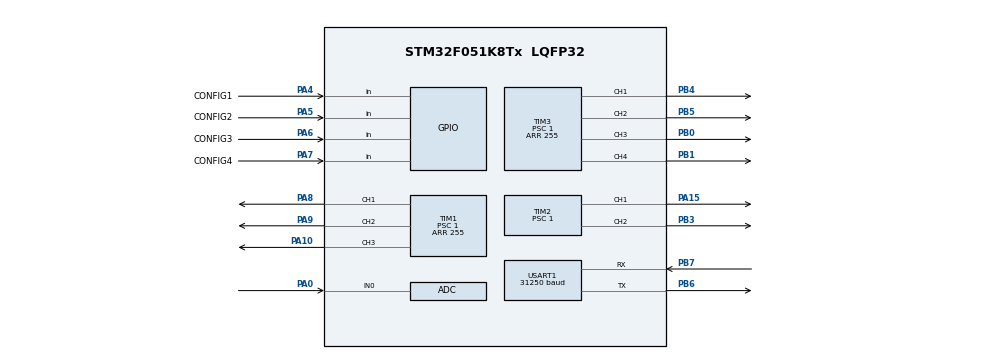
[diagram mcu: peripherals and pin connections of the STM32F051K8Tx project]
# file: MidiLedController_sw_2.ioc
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ADC.ContinuousConvMode=ENABLE
ADC.DMAContinuousRequests=ENABLE
ADC.Overrun=ADC_OVR_DATA_OVERWRITTEN
Dma.ADC.0.Direction=DMA_PERIPH_TO_MEMORY
Dma.ADC.0.Instance=DMA1_Channel1
Dma.ADC.0.MemDataAlignment=DMA_MDATAALIGN_WORD
Dma.ADC.0.MemInc=DMA_MINC_ENABLE
Dma.ADC.0.Mode=DMA_CIRCULAR
Dma.ADC.0.PeriphDataAlignment=DMA_PDATAALIGN_WORD
Dma.ADC.0.PeriphInc=DMA_PINC_DISABLE
Dma.ADC.0.Priority=DMA_PRIORITY_LOW
Dma.Request0=ADC
Mcu.Family=STM32F0
Mcu.Name=STM32F051K8Tx
Mcu.Package=LQFP32
NVIC.DMA1_Channel1_IRQn=true\:1\:0\:true\:false\:true\:false\:true
NVIC.TIM16_IRQn=true\:0\:0\:false\:false\:true\:true\:true
NVIC.USART1_IRQn=true\:0\:0\:false\:false\:true\:true\:true
PA0.Mode=IN0
PA0.Signal=ADC_IN0
PA10.Signal=S_TIM1_CH3
PA13.Mode=Serial_Wire
PA13.Signal=SYS_SWDIO
PA14.Mode=Serial_Wire
PA14.Signal=SYS_SWCLK
PA15.Signal=S_TIM2_CH1_ETR
PA4.GPIO_Label=CONFIG1
PA4.GPIO_PuPd=GPIO_PULLUP
PA4.Signal=GPIO_Input
PA5.GPIO_Label=CONFIG2
PA5.GPIO_PuPd=GPIO_PULLUP
PA5.Signal=GPIO_Input
PA6.GPIO_Label=CONFIG3
PA6.GPIO_PuPd=GPIO_PULLUP
PA6.Signal=GPIO_Input
PA7.GPIO_Label=CONFIG4
PA7.GPIO_PuPd=GPIO_PULLUP
PA7.Signal=GPIO_Input
PA8.Signal=S_TIM1_CH1
PA9.Signal=S_TIM1_CH2
PB0.Signal=S_TIM3_CH3
PB1.Signal=S_TIM3_CH4
PB3.Signal=S_TIM2_CH2
PB4.Signal=S_TIM3_CH1
PB5.Signal=S_TIM3_CH2
PB6.Mode=Asynchronous
PB6.Signal=USART1_TX
PB7.Mode=Asynchronous
PB7.Signal=USART1_RX
ProjectManager.HeapSize=0x200
ProjectManager.StackSize=0x400
ProjectManager.TargetToolchain=STM32CubeIDE
SH.S_TIM1_CH1.0=TIM1_CH1,PWM Generation1 CH1
SH.S_TIM1_CH2.0=TIM1_CH2,PWM Generation2 CH2
SH.S_TIM1_CH3.0=TIM1_CH3,PWM Generation3 CH3
SH.S_TIM2_CH1_ETR.0=TIM2_CH1,PWM Generation1 CH1
SH.S_TIM2_CH2.0=TIM2_CH2,PWM Generation2 CH2
SH.S_TIM3_CH1.0=TIM3_CH1,PWM Generation1 CH1
SH.S_TIM3_CH2.0=TIM3_CH2,PWM Generation2 CH2
SH.S_TIM3_CH3.0=TIM3_CH3,PWM Generation3 CH3
SH.S_TIM3_CH4.0=TIM3_CH4,PWM Generation4 CH4
TIM1.Channel-PWM\ Generation1\ CH1=TIM_CHANNEL_1
TIM1.Channel-PWM\ Generation2\ CH2=TIM_CHANNEL_2
TIM1.Channel-PWM\ Generation3\ CH3=TIM_CHANNEL_3
TIM1.Period=255
TIM1.Prescaler=1
TIM16.Period=65535
TIM16.Prescaler=64
TIM2.Channel-PWM\ Generation1\ CH1=TIM_CHANNEL_1
TIM2.Channel-PWM\ Generation2\ CH2=TIM_CHANNEL_2
TIM2.Period=64
TIM2.Prescaler=1
TIM3.Channel-PWM\ Generation1\ CH1=TIM_CHANNEL_1
TIM3.Channel-PWM\ Generation2\ CH2=TIM_CHANNEL_2
TIM3.Channel-PWM\ Generation3\ CH3=TIM_CHANNEL_3
TIM3.Channel-PWM\ Generation4\ CH4=TIM_CHANNEL_4
TIM3.Period=255
TIM3.Prescaler=1
USART1.BaudRate=31250
USART1.VirtualMode-Asynchronous=VM_ASYNC
VP_TIM16_VS_ClockSourceINT.Mode=Enable_Timer
VP_TIM16_VS_OPM.Mode=OPM_bit
VP_TIM1_VS_ClockSourceINT.Mode=Internal
board=custom

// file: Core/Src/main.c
/* USER CODE BEGIN Header */
/**
  ******************************************************************************
  * @file           : main.c
  * @brief          : Main program body
  ******************************************************************************
  * @attention
  *
  * <h2><center>&copy; Copyright (c) 2020 STMicroelectronics.
  * All rights reserved.</center></h2>
  *
  * This software component is licensed by ST under BSD 3-Clause license,
  * the "License"; You may not use this file except in compliance with the
  * License. You may obtain a copy of the License at:
  *                        opensource.org/licenses/BSD-3-Clause
  *
  ******************************************************************************
  */
/* USER CODE END Header */

#include "main.h"
#include "adc.h"
#include "dma.h"
#include "tim.h"
#include "usart.h"
#include "gpio.h"

/* USER CODE BEGIN Includes */
#include <math.h>
#include "stm32f0xx_it.h"
/* USER CODE END Includes */

/* USER CODE BEGIN PV */

// TIMER/PWM
uint32_t pwm_on_duty = 0;
int pwm_fade_up = 1;

uint16_t pwm_duty = 8192;
int pwm_arr = 64;
int pwm_delay = 200;

// ADC
uint32_t adc_data_in[ADC_MAX_DATA_POINTS];

volatile char bootconfig;
/* USER CODE END PV */

void SystemClock_Config(void);

/* USER CODE BEGIN 0 */
void pwm_fade_test()
{
	  uint32_t rootpwm = sqrt(pwm_on_duty);
	  TIM2->CCR1 = rootpwm;
	  TIM2->CCR2 = rootpwm;

	  TIM3->CCR1 = rootpwm;
	  TIM3->CCR2 = rootpwm;
	  TIM3->CCR3 = rootpwm;
	  TIM3->CCR4 = rootpwm;

	  TIM1->CCR1 = rootpwm;
	  TIM1->CCR2 = rootpwm;
	  TIM1->CCR3 = rootpwm;

	  //HAL_Delay(5);
	  if(pwm_fade_up)
	  {
		  HAL_Delay(pwm_delay);
		  pwm_on_duty++;
	  }
	  else
	  {
		  HAL_Delay(pwm_delay);
		  pwm_on_duty--;
	  }

	  //(pwm_on_duty++);
	  if(pwm_on_duty > pwm_duty)
	  {
		  pwm_fade_up = 0;
	  }
	  if(pwm_on_duty < 1)
	  {
		  HAL_Delay(100);
		  pwm_fade_up = 1;
	  }
}

void setMidiChannel()
{
	bootconfig = 0;
	// discover config dip switch settings
	if(HAL_GPIO_ReadPin(GPIOA, CONFIG1_Pin))
	{
	  bootconfig |= (1 << 0);
	}
	if(HAL_GPIO_ReadPin(GPIOA, CONFIG2_Pin))
	{
	  bootconfig |= (1 << 1);
	}
	if(HAL_GPIO_ReadPin(GPIOA, CONFIG3_Pin))
	{
	  bootconfig |= (1 << 2);
	}
	if(HAL_GPIO_ReadPin(GPIOA, CONFIG4_Pin))
	{
	  bootconfig |= (1 << 3);
	}

	// set MIDI channel
	switch(bootconfig)
	{
		case 0:
			enabledNoteOnCmd = CH1_NOTE_ON;
			break;
		case 1:
			enabledNoteOnCmd = CH2_NOTE_ON;
			break;
		case 2:
			enabledNoteOnCmd = CH3_NOTE_ON;
			break;
		case 3:
			enabledNoteOnCmd = CH4_NOTE_ON;
			break;
		case 4:
			enabledNoteOnCmd = CH5_NOTE_ON;
			break;
		case 5:
			enabledNoteOnCmd = CH6_NOTE_ON;
			break;
		case 6:
			enabledNoteOnCmd = CH7_NOTE_ON;
			break;
		case 7:
			enabledNoteOnCmd = CH8_NOTE_ON;
			break;
		case 8:
			enabledNoteOnCmd = CH9_NOTE_ON;
			break;
		case 9:
			enabledNoteOnCmd = CH10_NOTE_ON;
			break;
		case 10:
			enabledNoteOnCmd = CH11_NOTE_ON;
			break;
		case 11:
			enabledNoteOnCmd = CH12_NOTE_ON;
			break;
		case 12:
			enabledNoteOnCmd = CH13_NOTE_ON;
			break;
		case 13:
			enabledNoteOnCmd = CH14_NOTE_ON;
			break;
		case 14:
			enabledNoteOnCmd = CH15_NOTE_ON;
			break;
		case 15:
			enabledNoteOnCmd = CH16_NOTE_ON;
			break;

	}

}
/* USER CODE END 0 */

int main(void)
{

  /* MCU Configuration--------------------------------------------------------*/

  /* Reset of all peripherals, Initializes the Flash interface and the Systick. */
  HAL_Init();

  /* Configure the system clock */
  SystemClock_Config();

  /* Initialize all configured peripherals */
  MX_GPIO_Init();
  MX_DMA_Init();
  MX_TIM1_Init();
  MX_TIM3_Init();
  MX_TIM2_Init();
  MX_ADC_Init();
  MX_USART1_UART_Init();
  MX_TIM16_Init();
  /* USER CODE BEGIN 2 */

  // discover boot config flags (set using onboard DIP4)
  setMidiChannel(bootconfig);

  // setup all output channel timer PWM
  HAL_TIM_PWM_Start(&htim2, TIM_CHANNEL_1);		// #1
  HAL_TIM_PWM_Start(&htim2, TIM_CHANNEL_2);		// #2
  HAL_TIM_PWM_Start(&htim3, TIM_CHANNEL_1);		// #3
  HAL_TIM_PWM_Start(&htim3, TIM_CHANNEL_2);		// #4
  HAL_TIM_PWM_Start(&htim3, TIM_CHANNEL_3);		// #5
  HAL_TIM_PWM_Start(&htim3, TIM_CHANNEL_4);		// #6
  HAL_TIM_PWM_Start(&htim1, TIM_CHANNEL_1);		// #7
  HAL_TIM_PWM_Start(&htim1, TIM_CHANNEL_2);		// #8
  HAL_TIM_PWM_Start(&htim1, TIM_CHANNEL_3);		// #9

  // Capture/Compare output enable
  TIM2->CCER |= TIM_CCER_CC1E;
  TIM2->CCER |= TIM_CCER_CC2E;

  TIM3->CCER |= TIM_CCER_CC1E;
  TIM3->CCER |= TIM_CCER_CC2E;
  TIM3->CCER |= TIM_CCER_CC3E;
  TIM3->CCER |= TIM_CCER_CC4E;

  TIM1->CCER |= TIM_CCER_CC1E;
  TIM1->CCER |= TIM_CCER_CC2E;
  TIM1->CCER |= TIM_CCER_CC3E;

  // set the counter reset
  TIM1->ARR = pwm_arr;
  TIM2->ARR = pwm_arr;
  TIM3->ARR = pwm_arr;

  HAL_ADCEx_Calibration_Start(&hadc);
  HAL_ADC_Start_DMA(&hadc, adc_data_in, ADC_MAX_DATA_POINTS);

  // enable USART receive and interrupt
  USART1->CR1 |= USART_CR1_RE | USART_CR1_UE | USART_CR1_RXNEIE;

  /* USER CODE END 2 */

  /* Infinite loop */
  while (1)
  {

  }
}

void SystemClock_Config(void)
{
  RCC_OscInitTypeDef RCC_OscInitStruct = {0};
  RCC_ClkInitTypeDef RCC_ClkInitStruct = {0};
  RCC_PeriphCLKInitTypeDef PeriphClkInit = {0};

  /** Initializes the CPU, AHB and APB busses clocks
  */
  RCC_OscInitStruct.OscillatorType = RCC_OSCILLATORTYPE_HSI|RCC_OSCILLATORTYPE_HSI14;
  RCC_OscInitStruct.HSIState = RCC_HSI_ON;
  RCC_OscInitStruct.HSI14State = RCC_HSI14_ON;
  RCC_OscInitStruct.HSICalibrationValue = RCC_HSICALIBRATION_DEFAULT;
  RCC_OscInitStruct.HSI14CalibrationValue = 16;
  RCC_OscInitStruct.PLL.PLLState = RCC_PLL_NONE;
  if (HAL_RCC_OscConfig(&RCC_OscInitStruct) != HAL_OK)
  {
    Error_Handler();
  }
  /** Initializes the CPU, AHB and APB busses clocks
  */
  RCC_ClkInitStruct.ClockType = RCC_CLOCKTYPE_HCLK|RCC_CLOCKTYPE_SYSCLK
                              |RCC_CLOCKTYPE_PCLK1;
  RCC_ClkInitStruct.SYSCLKSource = RCC_SYSCLKSOURCE_HSI;
  RCC_ClkInitStruct.AHBCLKDivider = RCC_SYSCLK_DIV1;
  RCC_ClkInitStruct.APB1CLKDivider = RCC_HCLK_DIV1;

  if (HAL_RCC_ClockConfig(&RCC_ClkInitStruct, FLASH_LATENCY_0) != HAL_OK)
  {
    Error_Handler();
  }
  PeriphClkInit.PeriphClockSelection = RCC_PERIPHCLK_USART1;
  PeriphClkInit.Usart1ClockSelection = RCC_USART1CLKSOURCE_PCLK1;
  if (HAL_RCCEx_PeriphCLKConfig(&PeriphClkInit) != HAL_OK)
  {
    Error_Handler();
  }
}

void Error_Handler(void)
{
}

/************************ (C) COPYRIGHT STMicroelectronics *****END OF FILE****/
